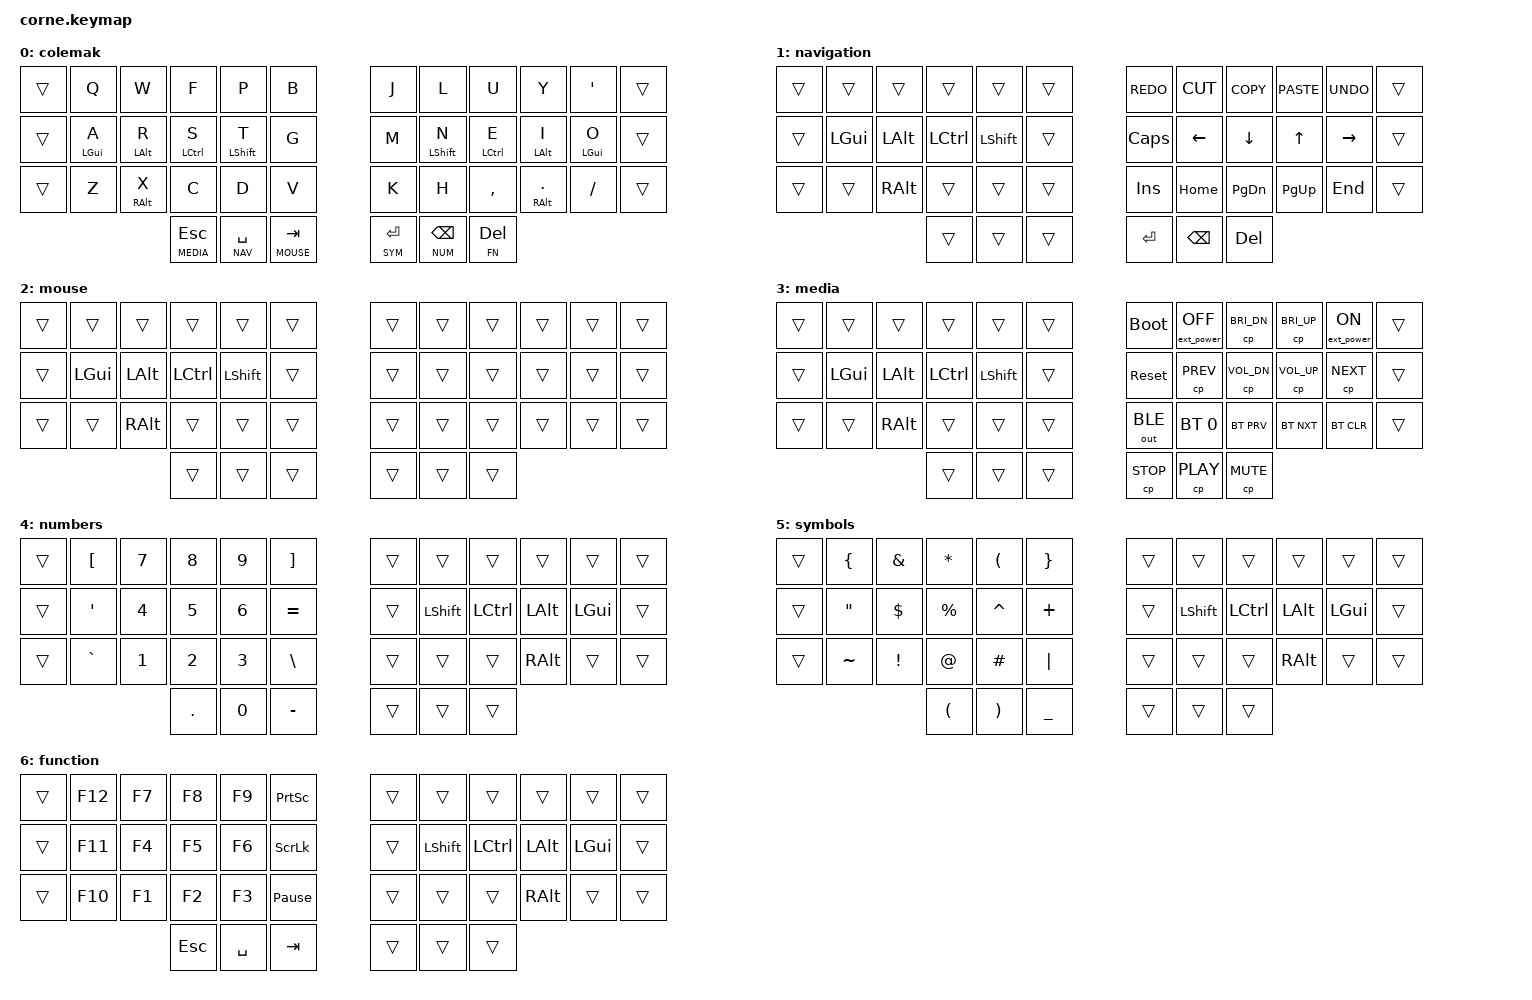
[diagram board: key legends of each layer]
#include <behaviors.dtsi>
#include <dt-bindings/zmk/keys.h>
#include <dt-bindings/zmk/bt.h>
#include <dt-bindings/zmk/ext_power.h>
#include <dt-bindings/zmk/outputs.h>

// Layer Definitions
#define COLEMAK 0
#define NAV 1
#define MOUSE 2
#define MEDIA 3
#define NUM 4
#define SYM 5
#define FN 6

// Behavior configuration
&mt {
    tapping-term-ms = <200>;
    quick_tap_ms = <0>;
    flavor = "tap-preferred";
};
&lt {
    tapping-term-ms = <200>;
    quick_tap_ms = <0>;
    flavor = "tap-preferred";
};
&sk {
    release-after-ms = <500>;
    quick-release;
};

// Keymap configuration (Colemak-DHm)
/ {
    keymap {
        compatible = "zmk,keymap";

        colemak {
// -----------------------------------------------------------------------------------------------------------------------------
// |        |   Q    |   W    |     F     |     P     |     B     | # |     J     |    L     |    U    |    Y   |   '    |     |
// |        | A/LGUI | R/LALT |  S/LCTRL  |  T/LSHFT  |     G     | # |     M     | N/LSHFT  | E/LCTRL | I/LALT | O/LGUI |     |
// |        |   Z    | X/RALT |     C     |     D     |     V     | # |     K     |    H     |    ,    | ./RALT |   /    |     |
//                            | ESC/MEDIA | SPACE/NAV | TAB/MOUSE | # | ENTER/SYM | BSPC/NUM | DEL/FN  |

            bindings = <
&trans      &kp Q       &kp W       &kp F          &kp P          &kp B                &kp J          &kp L         &kp U          &kp Y         &kp SQT     &trans
&trans      &mt LGUI A  &mt LALT R  &mt LCTRL S    &mt LSHFT T    &kp G                &kp M          &mt LSHFT N   &mt LCTRL E    &mt LALT I    &mt LGUI O  &trans
&trans      &kp Z       &mt RALT X  &kp C          &kp D          &kp V                &kp K          &kp H         &kp CMMA       &mt RALT DOT  &kp FSLH    &trans
                                    &lt MEDIA ESC  &lt NAV SPACE  &lt MOUSE TAB        &lt SYM ENTER  &lt NUM BSPC  &lt FN DEL
            >;
        };

       
        navigation {
// -------------------------------------------------------------------------------------------
// |     |      |      |       |       |     | # | REDO  | CUT  | COPY | PASTE | UNDO  |     |
// |     | LGUI | LALT | LCTRL | LSHFT |     | # | CAPS  | LEFT | DOWN | UP    | RIGHT |     |
// |     |      | RALT |       |       |     | # | INS   | HOME | PGDN | PGUP  | END   |     |
//                     |       | HELD  |     | # | ENTER | BSPC | DEL  |

            bindings = <
&trans  &trans    &trans    &trans     &trans     &trans        &kp K_REDO    &kp K_CUT  &kp K_COPY  &kp K_PASTE  &kp K_UNDO  &trans
&trans  &kp LGUI  &kp LALT  &kp LCTRL  &kp LSHFT  &trans        &kp CAPSLOCK  &kp LEFT   &kp DOWN    &kp UP       &kp RIGHT   &trans
&trans  &trans    &kp RALT  &trans     &trans     &trans        &kp INS       &kp HOME   &kp PG_DN   &kp PG_UP    &kp END     &trans
                            &trans     &trans     &trans        &kp ENTER     &kp BSPC   &kp DEL
            >;
        };

// TODO
// Add mouse keys when implemented in ZMK

        mouse {
// ------------------------------------------------------------------------------------
// |     |      |      |       |       |      | # |     |     |     |     |     |     |
// |     | LGUI | LALT | LCTRL | LSHFT |      | # |     |     |     |     |     |     |
// |     |      | RALT |       |       |      | # |     |     |     |     |     |     |
//                     |       |       | HELD | # |     |     |     |

            bindings = <
&trans  &trans    &trans    &trans     &trans     &trans        &trans  &trans  &trans  &trans  &trans  &trans
&trans  &kp LGUI  &kp LALT  &kp LCTRL  &kp LSHFT  &trans        &trans  &trans  &trans  &trans  &trans  &trans
&trans  &trans    &kp RALT  &trans     &trans     &trans        &trans  &trans  &trans  &trans  &trans  &trans
                            &trans     &trans     &trans        &trans  &trans  &trans
            >;
        };

        media {
// -----------------------------------------------------------------------------------------------------
// |     |      |      |       |       |      | # | BOOTLOAD | EP_OFF | BR_D   | BR_U   | EP_ON  |     |
// |     | LGUI | LALT | LCTRL | LSHFT |      | # | RESET    | PREV   | VOL_D  | VOL_U  | NEXT   |     |
// |     |      | RALT |       |       |      | # | OUT_BLE  | BT_0   | BT_PRV | BT_NXT | BT_CLR |     |
//                     | HELD  |       |      | # | STOP     | PLAY   | MUTE   |

            bindings = <
&trans  &trans    &trans    &trans     &trans     &trans        &bootloader   &ext_power EP_OFF  &cp C_BRI_DN  &cp C_BRI_UP  &ext_power EP_ON  &trans
&trans  &kp LGUI  &kp LALT  &kp LCTRL  &kp LSHFT  &trans        &sys_reset        &cp C_PREV         &cp C_VOL_DN  &cp C_VOL_UP  &cp C_NEXT        &trans
&trans  &trans    &kp RALT  &trans     &trans     &trans        &out OUT_BLE  &bt BT_SEL 0       &bt BT_PRV    &bt BT_NXT    &bt BT_CLR        &trans
                            &trans     &trans     &trans        &cp C_STOP    &cp C_PLAY         &cp C_MUTE
            >;
        };

        numbers {
// -----------------------------------------------------------------------------------
// |     |  [  |  7  |  8  |  9  |  ]  | # |     |       |       |      |      |     |
// |     |  ;  |  4  |  5  |  6  |  =  | # |     | LSHFT | LCTRL | LALT | LGUI |     |
// |     |  `  |  1  |  2  |  3  |  \  | # |     |       |       | RALT |      |     |
//                   |  .  |  0  |  -  | # |     | HELD  |       |

            bindings = <
&trans  &kp LBKT   &kp N7  &kp N8   &kp N9  &kp RBKT         &trans  &trans     &trans     &trans    &trans    &trans
&trans  &kp SQT    &kp N4  &kp N5   &kp N6  &kp EQUAL        &trans  &kp LSHFT  &kp LCTRL  &kp LALT  &kp LGUI  &trans
&trans  &kp GRAVE  &kp N1  &kp N2   &kp N3  &kp BSLH         &trans  &trans     &trans     &kp RALT  &trans    &trans
                           &kp DOT  &kp N0  &kp MINUS        &trans  &trans     &trans
            >;
        };

        symbols {
// ------------------------------------------------------------------------------------
// |     |  {  |  &  |  *  |  (  |  }  | # |      |       |       |      |      |     |
// |     |  :  |  $  |  %  |  ^  |  +  | # |      | LSHFT | LCTRL | LALT | LGUI |     |
// |     |  ~  |  !  |  @  |  #  |  |  | # |      |       |       | RALT |      |     |
//                   |  (  |  )  |  _  | # | HELD |       |       |

            bindings = <
&trans  &kp LBRC   &kp AMPS  &kp ASTRK  &kp LPAR   &kp RBRC              &trans  &trans     &trans     &trans    &trans    &trans
&trans  &kp DQT    &kp DLLR  &kp PRCNT  &kp CARET  &kp PLUS              &trans  &kp LSHFT  &kp LCTRL  &kp LALT  &kp LGUI  &trans
&trans  &kp TILDE  &kp EXCL  &kp AT     &kp HASH   &kp PIPE              &trans  &trans     &trans     &kp RALT  &trans    &trans
                             &kp LPAR   &kp RPAR   &kp UNDERSCORE        &trans  &trans     &trans
            >;
        };

        function {
// ------------------------------------------------------------------------------------------
// |     |  F12 |  F7  |  F8  |  F9   | PSCRN | # |     |       |       |      |      |     |
// |     |  F11 |  F4  |  F5  |  F6   | SLCK  | # |     | LSHFT | LCTRL | LALT | LGUI |     |
// |     |  F10 |  F1  |  F2  |  F3   | PAUSE | # |     |       |       | RALT |      |     |
//                     | ESC  | SPACE |  TAB  | # |     |       | HELD  |

            bindings = <
&trans  &kp F12  &kp F7  &kp F8   &kp F9     &kp PSCRN              &trans  &trans     &trans     &trans    &trans    &trans
&trans  &kp F11  &kp F4  &kp F5   &kp F6     &kp SLCK               &trans  &kp LSHFT  &kp LCTRL  &kp LALT  &kp LGUI  &trans
&trans  &kp F10  &kp F1  &kp F2   &kp F3     &kp PAUSE_BREAK        &trans  &trans     &trans     &kp RALT  &trans    &trans
                         &kp ESC  &kp SPACE  &kp TAB                &trans  &trans     &trans
            >;
        };
    };
};
